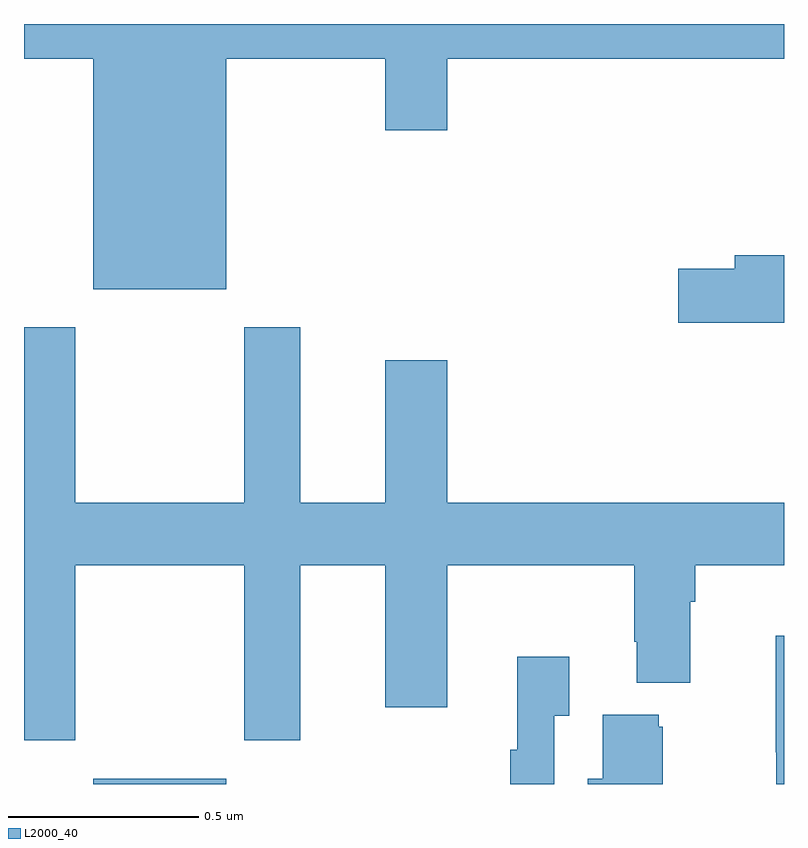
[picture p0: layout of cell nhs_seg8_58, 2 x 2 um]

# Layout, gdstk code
import gdstk
lib = gdstk.Library(unit=1e-6, precision=1e-09)
def R(c, l, rs):  # rectangles x0, y0, x1, y1
    for r in rs: c.add(gdstk.rectangle(r[:2], r[2:], *l))
def P(c, l, *ps):  # polygons
    for p in ps: c.add(gdstk.Polygon(p, *l))
L2000_40 = (2000, 40)

nhs_seg8_58 = lib.new_cell('nhs_seg8_58')
R(nhs_seg8_58, L2000_40, [(111.182,1139.9,111.532,1139.914)])
P(nhs_seg8_58, L2000_40, [(111.532,1141.808),(111.95,1141.808),(111.95,1141.62),(112.114,1141.62),(112.114,1141.808),(113,1141.808),(113,1141.9),(111,1141.9),(111,1141.808),(111.182,1141.808),(111.182,1141.202),(111.532,1141.202)],
  [(113,1141.292),(112.871,1141.292),(112.871,1141.256),(112.722,1141.256),(112.722,1141.114),(113,1141.114)],
  [(111.135,1140.476),(111.58,1140.476),(111.58,1140.015),(111.727,1140.015),(111.727,1140.476),(111.95,1140.476),(111.95,1140.102),(112.114,1140.102),(112.114,1140.476),(112.606,1140.476),(112.606,1140.274),(112.613,1140.274),(112.613,1140.167),(112.753,1140.167),(112.753,1140.38),(112.766,1140.38),(112.766,1140.476),(113,1140.476),(113,1140.64),(112.114,1140.64),(112.114,1141.015),(111.95,1141.015),(111.95,1140.64),(111.727,1140.64),(111.727,1141.102),(111.58,1141.102),(111.58,1140.64),(111.135,1140.64),(111.135,1141.102),(111,1141.102),(111,1140.015),(111.135,1140.015)],
  [(113,1140.29),(112.978,1140.29),(112.978,1139.983),(112.98,1139.983),(112.98,1139.9),(113,1139.9)],
  [(112.395,1140.079),(112.435,1140.079),(112.435,1140.235),(112.298,1140.235),(112.298,1139.99),(112.279,1139.99),(112.279,1139.9),(112.395,1139.9)],
  [(112.681,1140.051),(112.67,1140.051),(112.67,1140.082),(112.523,1140.082),(112.523,1139.914),(112.484,1139.914),(112.484,1139.9),(112.681,1139.9)])

lib.write_gds('nhs_seg8_58.gds')
